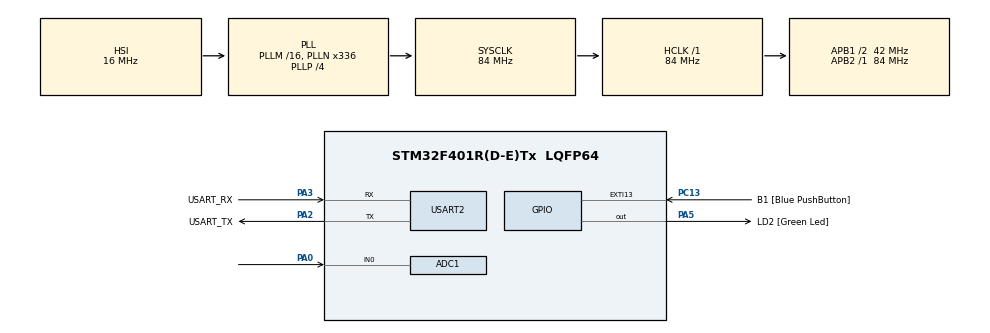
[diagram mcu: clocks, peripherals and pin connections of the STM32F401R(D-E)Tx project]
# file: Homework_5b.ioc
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ADC1.Channel-1\#ChannelRegularConversion=ADC_CHANNEL_0
ADC1.ContinuousConvMode=DISABLE
ADC1.DMAContinuousRequests=ENABLE
ADC1.EOCSelection=ADC_EOC_SINGLE_CONV
ADC1.ExternalTrigConv=ADC_EXTERNALTRIGCONV_T2_TRGO
ADC1.NbrOfConversion=1
ADC1.NbrOfConversionFlag=1
ADC1.Rank-1\#ChannelRegularConversion=1
ADC1.Resolution=ADC_RESOLUTION_12B
ADC1.SamplingTime-1\#ChannelRegularConversion=ADC_SAMPLETIME_3CYCLES
ADC1.master=1
Dma.ADC1.0.Direction=DMA_PERIPH_TO_MEMORY
Dma.ADC1.0.FIFOMode=DMA_FIFOMODE_DISABLE
Dma.ADC1.0.Instance=DMA2_Stream0
Dma.ADC1.0.MemDataAlignment=DMA_MDATAALIGN_WORD
Dma.ADC1.0.MemInc=DMA_MINC_ENABLE
Dma.ADC1.0.Mode=DMA_CIRCULAR
Dma.ADC1.0.PeriphDataAlignment=DMA_PDATAALIGN_WORD
Dma.ADC1.0.PeriphInc=DMA_PINC_DISABLE
Dma.ADC1.0.Priority=DMA_PRIORITY_LOW
Dma.Request0=ADC1
Mcu.Family=STM32F4
Mcu.Name=STM32F401R(D-E)Tx
Mcu.Package=LQFP64
NVIC.DMA2_Stream0_IRQn=true\:0\:0\:false\:false\:true\:false\:true\:true
NVIC.PriorityGroup=NVIC_PRIORITYGROUP_0
NVIC.TIM3_IRQn=true\:0\:0\:false\:false\:true\:true\:true\:true
PA0-WKUP.Signal=ADCx_IN0
PA13.GPIO_Label=TMS
PA13.Mode=Serial_Wire
PA13.Signal=SYS_JTMS-SWDIO
PA14.GPIO_Label=TCK
PA14.Mode=Serial_Wire
PA14.Signal=SYS_JTCK-SWCLK
PA2.GPIO_Label=USART_TX
PA2.GPIO_Mode=GPIO_MODE_AF_PP
PA2.GPIO_PuPd=GPIO_NOPULL
PA2.GPIO_Speed=GPIO_SPEED_FREQ_LOW
PA2.Mode=Asynchronous
PA2.Signal=USART2_TX
PA3.GPIO_Label=USART_RX
PA3.GPIO_Mode=GPIO_MODE_AF_PP
PA3.GPIO_PuPd=GPIO_NOPULL
PA3.GPIO_Speed=GPIO_SPEED_FREQ_LOW
PA3.Mode=Asynchronous
PA3.Signal=USART2_RX
PA5.GPIO_Label=LD2 [Green Led]
PA5.GPIO_Mode=GPIO_MODE_OUTPUT_PP
PA5.GPIO_PuPd=GPIO_NOPULL
PA5.GPIO_Speed=GPIO_SPEED_FREQ_LOW
PA5.Signal=GPIO_Output
PB3.GPIO_Label=SWO
PB3.Signal=SYS_JTDO-SWO
PC13-ANTI_TAMP.GPIO_Label=B1 [Blue PushButton]
PC13-ANTI_TAMP.GPIO_ModeDefaultEXTI=GPIO_MODE_IT_FALLING
PC13-ANTI_TAMP.GPIO_PuPd=GPIO_NOPULL
PC13-ANTI_TAMP.Signal=GPXTI13
PC14-OSC32_IN.Mode=LSE-External-Oscillator
PC14-OSC32_IN.Signal=RCC_OSC32_IN
PC15-OSC32_OUT.Mode=LSE-External-Oscillator
PC15-OSC32_OUT.Signal=RCC_OSC32_OUT
PH0\ -\ OSC_IN.Mode=HSE-External-Clock-Source
PH0\ -\ OSC_IN.Signal=RCC_OSC_IN
PH1\ -\ OSC_OUT.Mode=HSE-External-Clock-Source
PH1\ -\ OSC_OUT.Signal=RCC_OSC_OUT
ProjectManager.HeapSize=0x200
ProjectManager.StackSize=0x400
ProjectManager.TargetToolchain=STM32CubeIDE
RCC.48MHZClocksFreq_Value=48000000
RCC.AHBFreq_Value=84000000
RCC.APB1CLKDivider=RCC_HCLK_DIV2
RCC.APB1Freq_Value=42000000
RCC.APB1TimFreq_Value=84000000
RCC.APB2Freq_Value=84000000
RCC.APB2TimFreq_Value=84000000
RCC.CortexFreq_Value=84000000
RCC.HCLKFreq_Value=84000000
RCC.HSE_VALUE=8000000
RCC.HSI_VALUE=16000000
RCC.PLLN=336
RCC.PLLP=RCC_PLLP_DIV4
RCC.PLLQ=7
RCC.SYSCLKFreq_VALUE=84000000
RCC.SYSCLKSource=RCC_SYSCLKSOURCE_PLLCLK
RCC.VCOOutputFreq_Value=336000000
SH.ADCx_IN0.0=ADC1_IN0,IN0
TIM2.Period=10-1
TIM2.Prescaler=8400-1
TIM2.TIM_MasterOutputTrigger=TIM_TRGO_UPDATE
TIM3.Period=10000-1
TIM3.Prescaler=8400-1
USART2.VirtualMode=VM_ASYNC
VP_TIM2_VS_ClockSourceINT.Mode=Internal
VP_TIM3_VS_ClockSourceINT.Mode=Internal
board=NUCLEO-F401RE

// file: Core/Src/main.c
/* USER CODE BEGIN Header */
/**
  ******************************************************************************
  * @file           : main.c
  * @brief          : Main program body
  ******************************************************************************
  * @attention
  *
  * Copyright (c) 2023 STMicroelectronics.
  * All rights reserved.
  *
  * This software is licensed under terms that can be found in the LICENSE file
  * in the root directory of this software component.
  * If no LICENSE file comes with this software, it is provided AS-IS.
  *
  ******************************************************************************
  */
/* USER CODE END Header */
#include "main.h"

/* USER CODE BEGIN Includes */
#include "stdio.h"
#include "string.h"
#include "math.h"
/* USER CODE END Includes */

ADC_HandleTypeDef hadc1;
DMA_HandleTypeDef hdma_adc1;

TIM_HandleTypeDef htim2;
TIM_HandleTypeDef htim3;

UART_HandleTypeDef huart2;

void SystemClock_Config(void);
static void MX_GPIO_Init(void);
static void MX_DMA_Init(void);
static void MX_USART2_UART_Init(void);
static void MX_ADC1_Init(void);
static void MX_TIM2_Init(void);
static void MX_TIM3_Init(void);

/* USER CODE BEGIN 0 */
float v_adc, resistance_sum, light,avg;
uint32_t adc_result[1]; // for DMA it must be necessarily an array, not a variable
char text[64];
int length, resistance_counter;

void HAL_ADC_ConvCpltCallback(ADC_HandleTypeDef *hadc) {
		v_adc = adc_result[0] * 3.3 / 4095.0;
		resistance_sum = resistance_sum + (v_adc * 100000) / (3.3 - v_adc);
		resistance_counter++;
	}

void HAL_TIM_PeriodElapsedCallback(TIM_HandleTypeDef *htim) {

	if (htim == &htim3) {
		avg=(resistance_sum/resistance_counter);
		length = snprintf(text, sizeof(text),"Resistance = %.3f ohm; Light = %.3f lux \r\n",avg, 10 * pow(100000 / (avg), 1.25));
		resistance_counter = 0;
		resistance_sum = 0;
		HAL_UART_Transmit(&huart2, (uint8_t *)text, length, 20);
		}
	}
/* USER CODE END 0 */

int main(void)
{

  /* MCU Configuration--------------------------------------------------------*/

  /* Reset of all peripherals, Initializes the Flash interface and the Systick. */
  HAL_Init();

  /* Configure the system clock */
  SystemClock_Config();

  /* Initialize all configured peripherals */
  MX_GPIO_Init();
  MX_DMA_Init();
  MX_USART2_UART_Init();
  MX_ADC1_Init();
  MX_TIM2_Init();
  MX_TIM3_Init();
  /* USER CODE BEGIN 2 */

  __HAL_TIM_CLEAR_FLAG(&htim2, TIM_FLAG_UPDATE);
  __HAL_TIM_CLEAR_FLAG(&htim3, TIM_FLAG_UPDATE);
  HAL_TIM_Base_Start_IT(&htim2);
  HAL_TIM_Base_Start_IT(&htim3);
  HAL_ADC_Start_DMA(&hadc1, adc_result, 1);

  /* USER CODE END 2 */

  /* Infinite loop */
  while (1)
  {

  }
}

void SystemClock_Config(void)
{
  RCC_OscInitTypeDef RCC_OscInitStruct = {0};
  RCC_ClkInitTypeDef RCC_ClkInitStruct = {0};

  /** Configure the main internal regulator output voltage
  */
  __HAL_RCC_PWR_CLK_ENABLE();
  __HAL_PWR_VOLTAGESCALING_CONFIG(PWR_REGULATOR_VOLTAGE_SCALE2);

  /** Initializes the RCC Oscillators according to the specified parameters
  * in the RCC_OscInitTypeDef structure.
  */
  RCC_OscInitStruct.OscillatorType = RCC_OSCILLATORTYPE_HSI;
  RCC_OscInitStruct.HSIState = RCC_HSI_ON;
  RCC_OscInitStruct.HSICalibrationValue = RCC_HSICALIBRATION_DEFAULT;
  RCC_OscInitStruct.PLL.PLLState = RCC_PLL_ON;
  RCC_OscInitStruct.PLL.PLLSource = RCC_PLLSOURCE_HSI;
  RCC_OscInitStruct.PLL.PLLM = 16;
  RCC_OscInitStruct.PLL.PLLN = 336;
  RCC_OscInitStruct.PLL.PLLP = RCC_PLLP_DIV4;
  RCC_OscInitStruct.PLL.PLLQ = 7;
  if (HAL_RCC_OscConfig(&RCC_OscInitStruct) != HAL_OK)
  {
    Error_Handler();
  }

  /** Initializes the CPU, AHB and APB buses clocks
  */
  RCC_ClkInitStruct.ClockType = RCC_CLOCKTYPE_HCLK|RCC_CLOCKTYPE_SYSCLK
                              |RCC_CLOCKTYPE_PCLK1|RCC_CLOCKTYPE_PCLK2;
  RCC_ClkInitStruct.SYSCLKSource = RCC_SYSCLKSOURCE_PLLCLK;
  RCC_ClkInitStruct.AHBCLKDivider = RCC_SYSCLK_DIV1;
  RCC_ClkInitStruct.APB1CLKDivider = RCC_HCLK_DIV2;
  RCC_ClkInitStruct.APB2CLKDivider = RCC_HCLK_DIV1;

  if (HAL_RCC_ClockConfig(&RCC_ClkInitStruct, FLASH_LATENCY_2) != HAL_OK)
  {
    Error_Handler();
  }
}

static void MX_ADC1_Init(void)
{

  ADC_ChannelConfTypeDef sConfig = {0};

  /** Configure the global features of the ADC (Clock, Resolution, Data Alignment and number of conversion)
  */
  hadc1.Instance = ADC1;
  hadc1.Init.ClockPrescaler = ADC_CLOCK_SYNC_PCLK_DIV4;
  hadc1.Init.Resolution = ADC_RESOLUTION_12B;
  hadc1.Init.ScanConvMode = DISABLE;
  hadc1.Init.ContinuousConvMode = DISABLE;
  hadc1.Init.DiscontinuousConvMode = DISABLE;
  hadc1.Init.ExternalTrigConvEdge = ADC_EXTERNALTRIGCONVEDGE_RISING;
  hadc1.Init.ExternalTrigConv = ADC_EXTERNALTRIGCONV_T2_TRGO;
  hadc1.Init.DataAlign = ADC_DATAALIGN_RIGHT;
  hadc1.Init.NbrOfConversion = 1;
  hadc1.Init.DMAContinuousRequests = ENABLE;
  hadc1.Init.EOCSelection = ADC_EOC_SINGLE_CONV;
  if (HAL_ADC_Init(&hadc1) != HAL_OK)
  {
    Error_Handler();
  }

  /** Configure for the selected ADC regular channel its corresponding rank in the sequencer and its sample time.
  */
  sConfig.Channel = ADC_CHANNEL_0;
  sConfig.Rank = 1;
  sConfig.SamplingTime = ADC_SAMPLETIME_3CYCLES;
  if (HAL_ADC_ConfigChannel(&hadc1, &sConfig) != HAL_OK)
  {
    Error_Handler();
  }

}

static void MX_TIM2_Init(void)
{

  TIM_ClockConfigTypeDef sClockSourceConfig = {0};
  TIM_MasterConfigTypeDef sMasterConfig = {0};

  htim2.Instance = TIM2;
  htim2.Init.Prescaler = 8400-1;
  htim2.Init.CounterMode = TIM_COUNTERMODE_UP;
  htim2.Init.Period = 10-1;
  htim2.Init.ClockDivision = TIM_CLOCKDIVISION_DIV1;
  htim2.Init.AutoReloadPreload = TIM_AUTORELOAD_PRELOAD_DISABLE;
  if (HAL_TIM_Base_Init(&htim2) != HAL_OK)
  {
    Error_Handler();
  }
  sClockSourceConfig.ClockSource = TIM_CLOCKSOURCE_INTERNAL;
  if (HAL_TIM_ConfigClockSource(&htim2, &sClockSourceConfig) != HAL_OK)
  {
    Error_Handler();
  }
  sMasterConfig.MasterOutputTrigger = TIM_TRGO_UPDATE;
  sMasterConfig.MasterSlaveMode = TIM_MASTERSLAVEMODE_DISABLE;
  if (HAL_TIMEx_MasterConfigSynchronization(&htim2, &sMasterConfig) != HAL_OK)
  {
    Error_Handler();
  }

}

static void MX_TIM3_Init(void)
{

  TIM_ClockConfigTypeDef sClockSourceConfig = {0};
  TIM_MasterConfigTypeDef sMasterConfig = {0};

  htim3.Instance = TIM3;
  htim3.Init.Prescaler = 8400-1;
  htim3.Init.CounterMode = TIM_COUNTERMODE_UP;
  htim3.Init.Period = 10000-1;
  htim3.Init.ClockDivision = TIM_CLOCKDIVISION_DIV1;
  htim3.Init.AutoReloadPreload = TIM_AUTORELOAD_PRELOAD_DISABLE;
  if (HAL_TIM_Base_Init(&htim3) != HAL_OK)
  {
    Error_Handler();
  }
  sClockSourceConfig.ClockSource = TIM_CLOCKSOURCE_INTERNAL;
  if (HAL_TIM_ConfigClockSource(&htim3, &sClockSourceConfig) != HAL_OK)
  {
    Error_Handler();
  }
  sMasterConfig.MasterOutputTrigger = TIM_TRGO_RESET;
  sMasterConfig.MasterSlaveMode = TIM_MASTERSLAVEMODE_DISABLE;
  if (HAL_TIMEx_MasterConfigSynchronization(&htim3, &sMasterConfig) != HAL_OK)
  {
    Error_Handler();
  }

}

static void MX_USART2_UART_Init(void)
{

  huart2.Instance = USART2;
  huart2.Init.BaudRate = 115200;
  huart2.Init.WordLength = UART_WORDLENGTH_8B;
  huart2.Init.StopBits = UART_STOPBITS_1;
  huart2.Init.Parity = UART_PARITY_NONE;
  huart2.Init.Mode = UART_MODE_TX_RX;
  huart2.Init.HwFlowCtl = UART_HWCONTROL_NONE;
  huart2.Init.OverSampling = UART_OVERSAMPLING_16;
  if (HAL_UART_Init(&huart2) != HAL_OK)
  {
    Error_Handler();
  }

}

static void MX_DMA_Init(void)
{

  /* DMA controller clock enable */
  __HAL_RCC_DMA2_CLK_ENABLE();

  /* DMA interrupt init */
  /* DMA2_Stream0_IRQn interrupt configuration */
  HAL_NVIC_SetPriority(DMA2_Stream0_IRQn, 0, 0);
  HAL_NVIC_EnableIRQ(DMA2_Stream0_IRQn);

}

static void MX_GPIO_Init(void)
{
  GPIO_InitTypeDef GPIO_InitStruct = {0};

  /* GPIO Ports Clock Enable */
  __HAL_RCC_GPIOC_CLK_ENABLE();
  __HAL_RCC_GPIOH_CLK_ENABLE();
  __HAL_RCC_GPIOA_CLK_ENABLE();
  __HAL_RCC_GPIOB_CLK_ENABLE();

  /*Configure GPIO pin Output Level */
  HAL_GPIO_WritePin(LD2_GPIO_Port, LD2_Pin, GPIO_PIN_RESET);

  /*Configure GPIO pin : B1_Pin */
  GPIO_InitStruct.Pin = B1_Pin;
  GPIO_InitStruct.Mode = GPIO_MODE_IT_FALLING;
  GPIO_InitStruct.Pull = GPIO_NOPULL;
  HAL_GPIO_Init(B1_GPIO_Port, &GPIO_InitStruct);

  /*Configure GPIO pin : LD2_Pin */
  GPIO_InitStruct.Pin = LD2_Pin;
  GPIO_InitStruct.Mode = GPIO_MODE_OUTPUT_PP;
  GPIO_InitStruct.Pull = GPIO_NOPULL;
  GPIO_InitStruct.Speed = GPIO_SPEED_FREQ_LOW;
  HAL_GPIO_Init(LD2_GPIO_Port, &GPIO_InitStruct);

}

void Error_Handler(void)
{
  __disable_irq();
  while (1)
  {
  }
}
